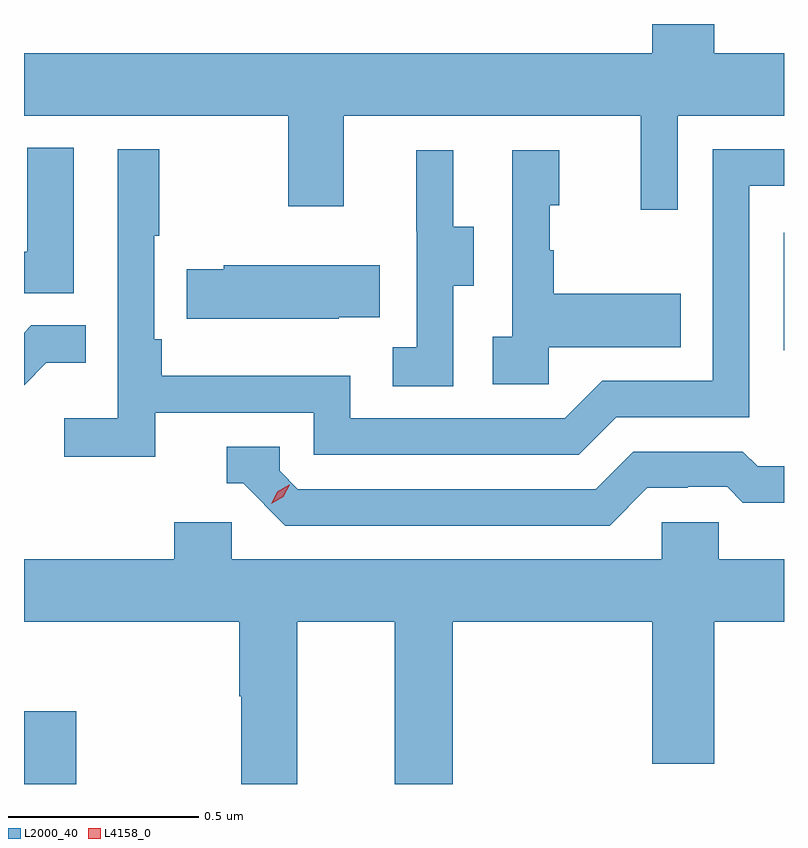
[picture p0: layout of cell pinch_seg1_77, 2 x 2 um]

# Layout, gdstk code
import gdstk
lib = gdstk.Library(unit=1e-6, precision=1e-09)
def R(c, l, rs):  # rectangles x0, y0, x1, y1
    for r in rs: c.add(gdstk.rectangle(r[:2], r[2:], *l))
def P(c, l, *ps):  # polygons
    for p in ps: c.add(gdstk.Polygon(p, *l))
L2000_40 = (2000, 40)
L4158_0 = (4158, 0)

pinch_seg1_77 = lib.new_cell('pinch_seg1_77')
R(pinch_seg1_77, L2000_40, [(1038.479,580.609,1038.616,580.801), (1040.478,581.751,1040.479,582.06)])
P(pinch_seg1_77, L2000_40, [(1040.199,582.368),(1040.479,582.368),(1040.479,582.532),(1040.296,582.532),(1040.296,582.609),(1040.132,582.609),(1040.132,582.532),(1038.479,582.532),(1038.479,582.368),(1039.174,582.368),(1039.174,582.129),(1039.321,582.129),(1039.321,582.368),(1040.102,582.368),(1040.102,582.12),(1040.199,582.12)],
  [(1038.61,582.283),(1038.488,582.283),(1038.488,582.01),(1038.479,582.01),(1038.479,581.901),(1038.61,581.901)],
  [(1038.824,581.586),(1039.242,581.586),(1039.242,581.475),(1039.939,581.475),(1040.038,581.574),(1040.388,581.574),(1040.388,582.183),(1040.479,582.183),(1040.479,582.279),(1040.292,582.279),(1040.292,581.67),(1040.001,581.67),(1039.902,581.571),(1039.338,581.571),(1039.338,581.683),(1038.842,581.683),(1038.842,581.779),(1038.822,581.779),(1038.822,582.052),(1038.835,582.052),(1038.835,582.28),(1038.726,582.28),(1038.726,581.572),(1038.585,581.572),(1038.585,581.47),(1038.824,581.47)],
  [(1039.608,581.92),(1039.663,581.92),(1039.663,582.075),(1039.609,582.075),(1039.609,582.277),(1039.511,582.277),(1039.511,582.063),(1039.512,582.063),(1039.512,581.759),(1039.449,581.759),(1039.449,581.656),(1039.608,581.656)],
  [(1039.86,581.759),(1040.207,581.759),(1040.207,581.899),(1039.873,581.899),(1039.873,582.014),(1039.863,582.014),(1039.863,582.132),(1039.888,582.132),(1039.888,582.277),(1039.764,582.277),(1039.764,581.786),(1039.713,581.786),(1039.713,581.661),(1039.86,581.661)],
  [(1039.307,581.837),(1039.415,581.837),(1039.415,581.974),(1039.005,581.974),(1039.005,581.964),(1038.907,581.964),(1038.907,581.834),(1039.307,581.834)],
  [(1038.537,581.717),(1038.641,581.717),(1038.641,581.816),(1038.498,581.816),(1038.479,581.797),(1038.479,581.659)],
  [(1040.119,581.388),(1040.226,581.388),(1040.226,581.391),(1040.329,581.391),(1040.371,581.349),(1040.479,581.349),(1040.479,581.445),(1040.41,581.445),(1040.371,581.484),(1040.082,581.484),(1039.983,581.385),(1039.2,581.385),(1039.152,581.433),(1039.152,581.496),(1039.013,581.496),(1039.013,581.4),(1039.056,581.4),(1039.167,581.289),(1040.02,581.289)],
  [(1039.198,581.036),(1039.454,581.036),(1039.454,580.609),(1039.607,580.609),(1039.607,581.036),(1040.132,581.036),(1040.132,580.662),(1040.296,580.662),(1040.296,581.036),(1040.479,581.036),(1040.479,581.2),(1040.307,581.2),(1040.307,581.298),(1040.157,581.298),(1040.157,581.2),(1039.026,581.2),(1039.026,581.298),(1038.875,581.298),(1038.875,581.2),(1038.479,581.2),(1038.479,581.036),(1039.046,581.036),(1039.046,580.84),(1039.051,580.84),(1039.051,580.609),(1039.198,580.609)])
P(pinch_seg1_77, L4158_0, [(1039.13,581.346),(1039.13,581.346),(1039.146,581.378),(1039.177,581.397),(1039.178,581.397),(1039.178,581.397),(1039.161,581.365),(1039.13,581.346)])

lib.write_gds('pinch_seg1_77.gds')
